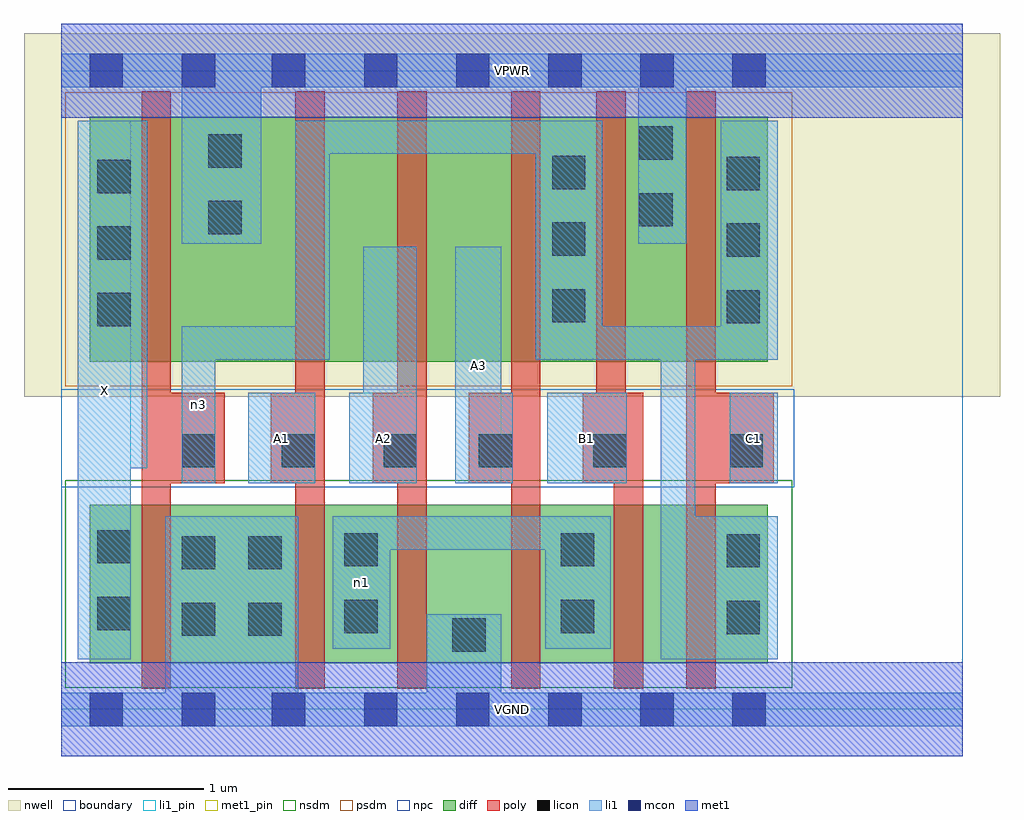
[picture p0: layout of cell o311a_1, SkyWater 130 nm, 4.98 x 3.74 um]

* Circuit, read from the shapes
.subckt o311a_1 A1 A2 A3 B1 C1 VGND VPWR X n1 n3
XM1 VGND n3 X VSUBS sky130_fd_pr__nfet_01v8 w=0.81 l=0.15
XM2 n1 A1 VGND VSUBS sky130_fd_pr__nfet_01v8 w=0.81 l=0.15
XM3 VGND A2 n1 VSUBS sky130_fd_pr__nfet_01v8 w=0.81 l=0.15
XM4 n1 A3 VGND VSUBS sky130_fd_pr__nfet_01v8 w=0.81 l=0.15
XM5 n2 B1 n1 VSUBS sky130_fd_pr__nfet_01v8 w=0.81 l=0.15
XM6 n3 C1 n2 VSUBS sky130_fd_pr__nfet_01v8 w=0.81 l=0.15
XM7 VPWR n3 X n4 sky130_fd_pr__pfet_01v8 w=1.25 l=0.15
XM8 n5 A1 VPWR n4 sky130_fd_pr__pfet_01v8 w=1.25 l=0.15
XM9 n6 A2 n5 n4 sky130_fd_pr__pfet_01v8 w=1.25 l=0.15
XM10 n3 A3 n6 n4 sky130_fd_pr__pfet_01v8 w=1.25 l=0.15
XM11 VPWR B1 n3 n4 sky130_fd_pr__pfet_01v8 w=1.25 l=0.15
XM12 n3 C1 VPWR n4 sky130_fd_pr__pfet_01v8 w=1.25 l=0.15
.ends

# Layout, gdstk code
import gdstk
lib = gdstk.Library(unit=1e-6, precision=1e-09)
def R(c, l, rs):  # rectangles x0, y0, x1, y1
    for r in rs: c.add(gdstk.rectangle(r[:2], r[2:], *l))
def A(c, l, x, y, w, h, nx, ny, dx, dy):  # array of equal rectangles
    R(c, l, [(x+i*dx, y+j*dy, x+i*dx+w, y+j*dy+h) for i in range(nx) for j in range(ny)])
nwell = (64, 20)
diff = (65, 20)
poly = (66, 20)
licon = (66, 44)
li1_pin = (67, 16)
li1 = (67, 20)
mcon = (67, 44)
met1_pin = (68, 16)
met1 = (68, 20)
nsdm = (93, 44)
psdm = (94, 20)
npc = (95, 20)
boundary = (235, 4)

o311a_1 = lib.new_cell('o311a_1')
R(o311a_1, nwell, [(-0.19,1.595,4.79,3.45), (0,1.595,4.6,3.45)])
R(o311a_1, diff, [(0.145,0.235,3.605,1.045), (0.145,1.775,3.605,3.025)])
R(o311a_1, poly, [(0.41,0.105,0.56,3.155), (1.195,0.105,1.345,3.155), (1.715,0.105,1.865,3.155), (2.295,0.105,2.445,3.155), (2.82,0.105,2.97,1.615), (3.19,0.105,3.34,3.155), (0.41,1.155,0.835,1.615), (1.07,1.155,1.345,1.615), (1.59,1.155,1.865,1.615), (2.08,1.155,2.445,1.615), (2.66,1.155,2.97,1.615), (2.73,1.155,2.88,3.155), (3.19,1.155,3.635,1.615)])
A(o311a_1, licon, 0.185, 1.955, 0.17, 0.17, 1, 3, 0, 0.34)
A(o311a_1, licon, 3.395, 1.97, 0.17, 0.17, 1, 3, 0, 0.34)
A(o311a_1, licon, 2.505, 1.975, 0.17, 0.17, 1, 3, 0, 0.34)
R(o311a_1, licon, [(1.995,0.295,2.165,0.465), (0.615,0.375,0.785,0.545), (0.955,0.375,1.125,0.545), (3.395,0.385,3.565,0.555), (1.445,0.39,1.615,0.56), (2.55,0.39,2.72,0.56), (0.185,0.405,0.355,0.575), (0.615,0.715,0.785,0.885), (0.955,0.715,1.125,0.885), (3.395,0.725,3.565,0.895), (1.445,0.73,1.615,0.9), (2.55,0.73,2.72,0.9), (0.185,0.745,0.355,0.915), (0.615,1.235,0.785,1.405), (1.125,1.235,1.295,1.405), (1.645,1.235,1.815,1.405), (2.13,1.235,2.3,1.405), (2.715,1.235,2.885,1.405), (3.41,1.235,3.58,1.405), (0.75,2.425,0.92,2.595), (2.95,2.465,3.12,2.635), (0.75,2.765,0.92,2.935), (2.95,2.805,3.12,2.975)])
R(o311a_1, li1_pin, [(0.085,0.255,0.355,3.005), (0.955,1.155,1.295,1.615), (1.47,1.155,1.815,1.615), (2.01,1.155,2.245,2.36), (2.48,1.155,2.885,1.615), (3.41,1.155,3.655,1.615)])
R(o311a_1, li1, [(0,-0.085,4.6,0.085), (0.53,-0.085,1.21,0.985), (1.865,-0.085,2.245,0.485), (0.085,0.255,0.355,3.005), (3.06,0.255,3.655,0.985), (3.06,0.255,3.235,1.955), (1.385,0.31,1.68,0.985), (2.47,0.31,2.805,0.985), (1.385,0.815,2.805,0.985), (0.615,1.155,0.785,1.955), (0.955,1.155,1.295,1.615), (1.47,1.155,1.815,1.615), (1.54,1.155,1.815,2.36), (2.01,1.155,2.245,2.36), (2.01,1.155,2.305,1.615), (2.48,1.155,2.885,1.615), (3.41,1.155,3.655,1.615), (0.085,1.23,0.44,3.005), (0.615,1.785,1.37,1.955), (1.195,1.785,1.37,3.005), (2.42,1.785,2.76,3.005), (2.42,1.785,3.655,1.955), (3.365,1.785,3.655,3.005), (0.615,2.375,1.02,3.345), (2.945,2.375,3.19,3.345), (1.195,2.835,2.76,3.005), (0,3.175,4.6,3.345)])
A(o311a_1, mcon, 1.075, -0.085, 0.17, 0.17, 6, 2, 0.47, 3.26)
R(o311a_1, mcon, [(0.145,-0.085,0.315,0.085), (0.615,-0.085,0.785,0.085), (0.145,3.175,0.315,3.345), (0.615,3.175,0.785,3.345)])
R(o311a_1, met1_pin, [(0,-0.24,4.6,0.24), (0,3.02,4.6,3.5)])
R(o311a_1, met1, [(0,-0.24,4.6,0.24), (0,3.02,4.6,3.5)])
R(o311a_1, nsdm, [(0.02,0.11,3.73,1.17)])
R(o311a_1, psdm, [(0.02,1.65,3.73,3.15)])
R(o311a_1, npc, [(0,1.135,3.74,1.635)])
R(o311a_1, boundary, [(0,0,4.6,3.26)])
o311a_1.add(gdstk.Label('A1', (1.125,1.385), layer=67, texttype=5))
o311a_1.add(gdstk.Label('A2', (1.642,1.385), layer=67, texttype=5))
o311a_1.add(gdstk.Label('A3', (2.127,1.757), layer=67, texttype=5))
o311a_1.add(gdstk.Label('B1', (2.682,1.385), layer=67, texttype=5))
o311a_1.add(gdstk.Label('C1', (3.532,1.385), layer=67, texttype=5))
o311a_1.add(gdstk.Label('X', (0.22,1.63), layer=67, texttype=5))
o311a_1.add(gdstk.Label('n1', (1.532,0.647), layer=67, texttype=5))
o311a_1.add(gdstk.Label('n3', (0.7,1.555), layer=67, texttype=5))
o311a_1.add(gdstk.Label('VPWR', (2.3,3.26), layer=68, texttype=5))
o311a_1.add(gdstk.Label('VGND', (2.3,0), layer=68, texttype=5))
o311a_1.add(gdstk.Label('A1', (1.125,1.385), layer=67, texttype=16))
o311a_1.add(gdstk.Label('A2', (1.642,1.385), layer=67, texttype=16))
o311a_1.add(gdstk.Label('A3', (2.127,1.757), layer=67, texttype=16))
o311a_1.add(gdstk.Label('B1', (2.682,1.385), layer=67, texttype=16))
o311a_1.add(gdstk.Label('C1', (3.532,1.385), layer=67, texttype=16))
o311a_1.add(gdstk.Label('X', (0.22,1.63), layer=67, texttype=16))
o311a_1.add(gdstk.Label('VPWR', (2.3,3.26), layer=68, texttype=16))
o311a_1.add(gdstk.Label('VGND', (2.3,0), layer=68, texttype=16))

lib.write_gds('o311a_1.gds')
